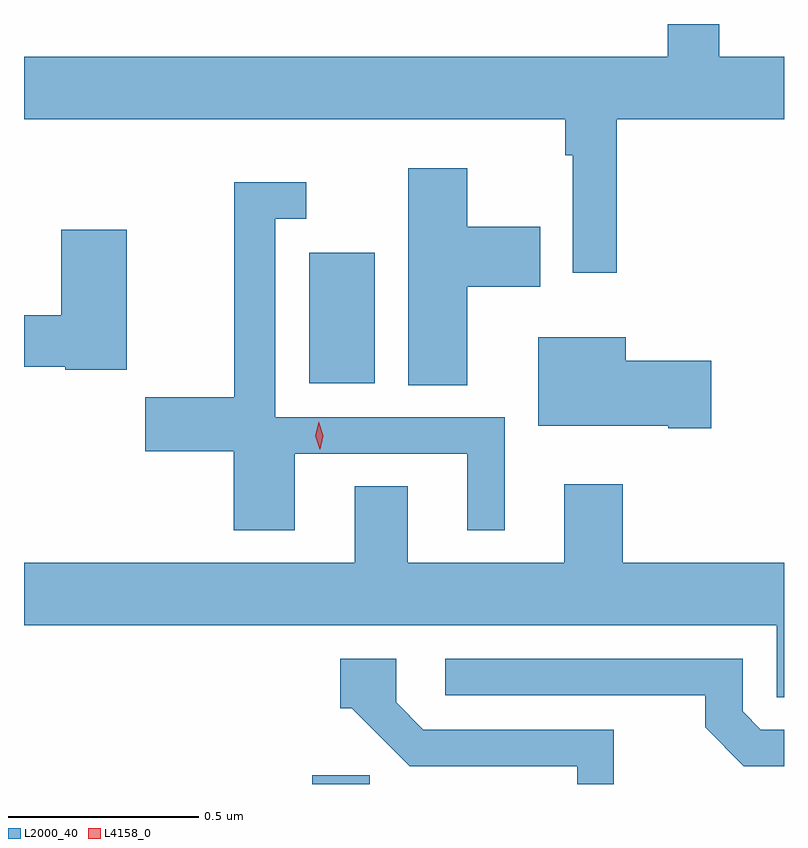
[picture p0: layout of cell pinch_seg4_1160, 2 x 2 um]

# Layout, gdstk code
import gdstk
lib = gdstk.Library(unit=1e-6, precision=1e-09)
def R(c, l, rs):  # rectangles x0, y0, x1, y1
    for r in rs: c.add(gdstk.rectangle(r[:2], r[2:], *l))
def P(c, l, *ps):  # polygons
    for p in ps: c.add(gdstk.Polygon(p, *l))
L2000_40 = (2000, 40)
L4158_0 = (4158, 0)

pinch_seg4_1160 = lib.new_cell('pinch_seg4_1160')
R(pinch_seg4_1160, L2000_40, [(410.642,784.414,410.793,784.437), (410.633,785.468,410.806,785.812)])
P(pinch_seg4_1160, L2000_40, [(411.443,786.164),(411.883,786.164),(411.883,786.328),(411.713,786.328),(411.713,786.414),(411.577,786.414),(411.577,786.328),(409.883,786.328),(409.883,786.164),(411.307,786.164),(411.307,786.068),(411.327,786.068),(411.327,785.76),(411.443,785.76)],
  [(411.049,785.723),(411.242,785.723),(411.242,785.881),(411.049,785.881),(411.049,786.034),(410.894,786.034),(410.894,785.464),(411.049,785.464)],
  [(410.596,785.283),(411.05,785.283),(411.05,785.082),(411.148,785.082),(411.148,785.379),(410.544,785.379),(410.544,785.901),(410.626,785.901),(410.626,785.998),(410.436,785.998),(410.436,785.432),(410.202,785.432),(410.202,785.29),(410.435,785.29),(410.435,785.082),(410.596,785.082)],
  [(410.154,785.872),(409.981,785.872),(409.981,785.648),(409.883,785.648),(409.883,785.512),(409.992,785.512),(409.992,785.504),(410.154,785.504)],
  [(411.691,785.528),(411.466,785.528),(411.466,785.59),(411.236,785.59),(411.236,785.357),(411.578,785.357),(411.578,785.35),(411.691,785.35)],
  [(411.883,784.996),(411.458,784.996),(411.458,785.203),(411.305,785.203),(411.305,784.996),(410.893,784.996),(410.893,785.198),(410.753,785.198),(410.753,784.996),(409.883,784.996),(409.883,784.832),(411.864,784.832),(411.864,784.642),(411.883,784.642)],
  [(411.435,784.557),(410.934,784.557),(410.862,784.629),(410.862,784.743),(410.715,784.743),(410.715,784.613),(410.746,784.613),(410.898,784.461),(411.339,784.461),(411.339,784.414),(411.435,784.414)],
  [(411.883,784.557),(411.822,784.557),(411.774,784.605),(411.774,784.743),(410.991,784.743),(410.991,784.647),(411.676,784.647),(411.676,784.563),(411.777,784.461),(411.883,784.461)])
P(pinch_seg4_1160, L4158_0, [(410.661,785.295),(410.661,785.295),(410.65,785.331),(410.658,785.367),(410.659,785.367),(410.659,785.367),(410.67,785.331),(410.662,785.295)])

lib.write_gds('pinch_seg4_1160.gds')
